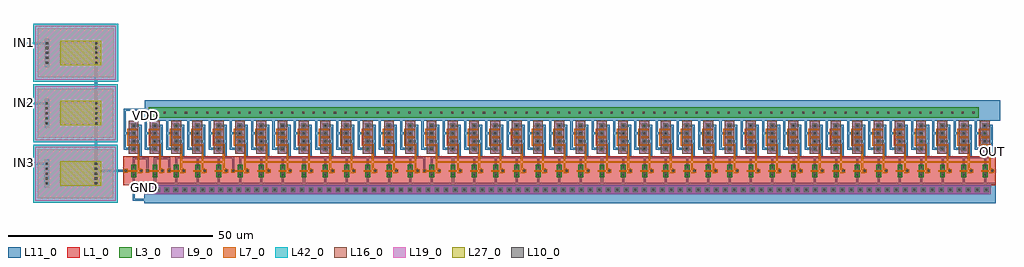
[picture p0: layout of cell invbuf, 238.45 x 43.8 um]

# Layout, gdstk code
from math import pi, radians
import gdstk
lib = gdstk.Library(unit=1e-6, precision=1e-09)
def R(c, l, rs):  # rectangles x0, y0, x1, y1
    for r in rs: c.add(gdstk.rectangle(r[:2], r[2:], *l))
def A(c, l, x, y, w, h, nx, ny, dx, dy):  # array of equal rectangles
    R(c, l, [(x+i*dx, y+j*dy, x+i*dx+w, y+j*dy+h) for i in range(nx) for j in range(ny)])
L1_0 = (1, 0)
L3_0 = (3, 0)
L7_0 = (7, 0)
L9_0 = (9, 0)
L10_0 = (10, 0)
L11_0 = (11, 0)
L16_0 = (16, 0)
L19_0 = (19, 0)
L27_0 = (27, 0)
L42_0 = (42, 0)

inv0_4 = lib.new_cell('inv0$4')

inv0 = lib.new_cell('inv0')

inv0_3 = lib.new_cell('inv0$3')

dcont = lib.new_cell('dcont')
R(dcont, L3_0, [(-0.6,-0.6,0.6,0.6)])
R(dcont, L10_0, [(-0.25,-0.25,0.25,0.25)])

pch_3 = lib.new_cell('Pch$3')
R(pch_3, L3_0, [(0,1.7,6.9,2.9)])
R(pch_3, L9_0, [(-0.6,1.1,7.5,3.5)])
R(pch_3, L16_0, [(-0.6,1.1,7.5,3.5)])
pch_3.add(gdstk.FlexPath([(0.6,1.7),(0.6,2.9)], 1.2, ends="flush", simple_path=True, layer=11, datatype=0))  # L11_0
pch_3.add(gdstk.FlexPath([(2.5,1.7),(2.5,2.9)], 1.2, ends="flush", simple_path=True, layer=11, datatype=0))  # L11_0
pch_3.add(gdstk.FlexPath([(4.4,1.7),(4.4,2.9)], 1.2, ends="flush", simple_path=True, layer=11, datatype=0))  # L11_0
pch_3.add(gdstk.FlexPath([(6.3,1.7),(6.3,2.9)], 1.2, ends="flush", simple_path=True, layer=11, datatype=0))  # L11_0
pch_3.add(gdstk.FlexPath([(0.6,2.4),(0.6,4)], 0.5, ends="flush", simple_path=True, layer=11, datatype=0))  # L11_0
pch_3.add(gdstk.FlexPath([(2.5,0.1),(2.5,2.2)], 0.5, ends="flush", simple_path=True, layer=11, datatype=0))  # L11_0
pch_3.add(gdstk.FlexPath([(4.4,2.4),(4.4,4)], 0.5, ends="flush", simple_path=True, layer=11, datatype=0))  # L11_0
pch_3.add(gdstk.FlexPath([(0.6,4),(4.4,4)], 0.5, ends="extended", simple_path=True, layer=11, datatype=0))  # L11_0
pch_3.add(gdstk.FlexPath([(6.3,0.1),(6.3,2.2)], 0.5, ends="flush", simple_path=True, layer=11, datatype=0))  # L11_0
pch_3.add(gdstk.FlexPath([(2.5,0.1),(6.3,0.1)], 0.5, ends="extended", simple_path=True, layer=11, datatype=0))  # L11_0
pch_3.add(gdstk.FlexPath([(1.55,1.7),(1.55,2.9)], 0.4, ends=(0.4, 0.4), simple_path=True, layer=7, datatype=0))  # L7_0
pch_3.add(gdstk.FlexPath([(3.45,1.7),(3.45,2.9)], 0.4, ends=(0.4, 0.4), simple_path=True, layer=7, datatype=0))  # L7_0
pch_3.add(gdstk.FlexPath([(5.35,1.7),(5.35,2.9)], 0.4, ends=(0.4, 0.4), simple_path=True, layer=7, datatype=0))  # L7_0
pch_3.add(gdstk.FlexPath([(1.35,1.05),(3.65,1.05)], 0.5, ends="flush", simple_path=True, layer=7, datatype=0))  # L7_0
pch_3.add(gdstk.FlexPath([(3.25,1.05),(5.55,1.05)], 0.5, ends="flush", simple_path=True, layer=7, datatype=0))  # L7_0
pch_3.add(gdstk.Reference(dcont, (0.6,2.3)))
pch_3.add(gdstk.Reference(dcont, (2.5,2.3)))
pch_3.add(gdstk.Reference(dcont, (4.4,2.3)))
pch_3.add(gdstk.Reference(dcont, (6.3,2.3)))

pcont = lib.new_cell('pcont')
R(pcont, L7_0, [(-0.45,-0.45,0.45,0.45)])
R(pcont, L10_0, [(-0.25,-0.25,0.25,0.25)])
R(pcont, L11_0, [(-0.45,-0.45,0.45,0.45)])

nch_3 = lib.new_cell('Nch$3')
R(nch_3, L1_0, [(-2,-0.3,5.1,4.9)])
R(nch_3, L3_0, [(0,1.7,3.1,2.9)])
nch_3.add(gdstk.FlexPath([(0.6,1.7),(0.6,2.9)], 1.2, ends="flush", simple_path=True, layer=11, datatype=0))  # L11_0
nch_3.add(gdstk.FlexPath([(2.5,1.7),(2.5,2.9)], 1.2, ends="flush", simple_path=True, layer=11, datatype=0))  # L11_0
nch_3.add(gdstk.FlexPath([(1.55,1.7),(1.55,2.9)], 0.4, ends=(0.4, 0.4), simple_path=True, layer=7, datatype=0))  # L7_0
nch_3.add(gdstk.FlexPath([(1.55,4.1),(1.55,3.3)], 1.2, ends="flush", simple_path=True, layer=7, datatype=0))  # L7_0
nch_3.add(gdstk.Reference(dcont, (0.6,2.3)))
nch_3.add(gdstk.Reference(dcont, (2.5,2.3)))
nch_3.add(gdstk.Reference(pcont, (1.55,4.1)))

nch_4 = lib.new_cell('Nch$4')
R(nch_4, L1_0, [(-2,-0.3,5.1,4.9)])
R(nch_4, L3_0, [(0,1.7,3.1,2.9)])
nch_4.add(gdstk.FlexPath([(0.6,1.7),(0.6,2.9)], 1.2, ends="flush", simple_path=True, layer=11, datatype=0))  # L11_0
nch_4.add(gdstk.FlexPath([(2.5,1.7),(2.5,2.9)], 1.2, ends="flush", simple_path=True, layer=11, datatype=0))  # L11_0
nch_4.add(gdstk.FlexPath([(1.55,1.7),(1.55,2.9)], 0.4, ends=(0.4, 0.4), simple_path=True, layer=7, datatype=0))  # L7_0
nch_4.add(gdstk.FlexPath([(1.55,4.1),(1.55,3.3)], 1.2, ends="flush", simple_path=True, layer=7, datatype=0))  # L7_0
nch_4.add(gdstk.Reference(dcont, (0.6,2.3)))
nch_4.add(gdstk.Reference(dcont, (2.5,2.3)))
nch_4.add(gdstk.Reference(pcont, (1.55,4.1)))

inv_citizen = lib.new_cell('INV_Citizen')
inv_citizen.add(gdstk.FlexPath([(39.59,1.53),(39.59,-1.6)], 0.5, ends="flush", simple_path=True, layer=11, datatype=0))  # L11_0
inv_citizen.add(gdstk.FlexPath([(41.24,9.73),(41.24,5.52),(39.59,5.52),(39.59,3.43)], 0.5, ends="flush", simple_path=True, layer=11, datatype=0))  # L11_0
inv_citizen.add(gdstk.FlexPath([(37.34,11.63),(37.34,15.91)], 0.5, ends="flush", simple_path=True, layer=11, datatype=0))  # L11_0
inv_citizen.add(gdstk.FlexPath([(40.14,8.78),(40.79,8.78),(40.79,2.68)], 0.4, ends="flush", simple_path=True, layer=7, datatype=0))  # L7_0
inv_citizen.add(gdstk.Reference(pch_3, (37.24,14.13), rotation=3*pi/2))
inv_citizen.add(gdstk.Reference(nch_3, (37.29,4.03), rotation=3*pi/2))
inv_citizen.add(gdstk.Reference(nch_4, (37.29,4.03), rotation=3*pi/2))

pcont_1 = lib.new_cell('pcont$1')
R(pcont_1, L7_0, [(-0.45,-0.45,0.45,0.45)])
R(pcont_1, L10_0, [(-0.25,-0.25,0.25,0.25)])
R(pcont_1, L11_0, [(-0.45,-0.45,0.45,0.45)])

nsub_line_2 = lib.new_cell('Nsub_line$2')
R(nsub_line_2, L3_0, [(0,-1.3,202.8,1.3)])
A(nsub_line_2, L10_0, 1.05, -0.25, 0.5, 0.5, 78, 1, 2.6, 0)
nsub_line_2.add(gdstk.FlexPath([(0,0),(202.8,0)], 0.9, ends="flush", simple_path=True, layer=11, datatype=0))  # L11_0

psub_line = lib.new_cell('Psub_line')
R(psub_line, L1_0, [(0,-1.1,206.8,1.1)])
A(psub_line, L3_0, 0.5, -0.6, 1.2, 1.2, 94, 1, 2.2, 0)
R(psub_line, L9_0, [(0,-1.1,206.8,1.1)])
A(psub_line, L10_0, 0.85, -0.25, 0.5, 0.5, 94, 1, 2.2, 0)
psub_line.add(gdstk.FlexPath([(0,0),(206.8,0)], 0.9, ends="flush", simple_path=True, layer=11, datatype=0))  # L11_0

pch = lib.new_cell('Pch')
R(pch, L3_0, [(0,1.7,6.9,2.9)])
R(pch, L9_0, [(-0.6,1.1,7.5,3.5)])
R(pch, L16_0, [(-0.6,1.1,7.5,3.5)])
pch.add(gdstk.FlexPath([(0.6,1.7),(0.6,2.9)], 1.2, ends="flush", simple_path=True, layer=11, datatype=0))  # L11_0
pch.add(gdstk.FlexPath([(2.5,1.7),(2.5,2.9)], 1.2, ends="flush", simple_path=True, layer=11, datatype=0))  # L11_0
pch.add(gdstk.FlexPath([(4.4,1.7),(4.4,2.9)], 1.2, ends="flush", simple_path=True, layer=11, datatype=0))  # L11_0
pch.add(gdstk.FlexPath([(6.3,1.7),(6.3,2.9)], 1.2, ends="flush", simple_path=True, layer=11, datatype=0))  # L11_0
pch.add(gdstk.FlexPath([(0.6,2.4),(0.6,4)], 0.5, ends="flush", simple_path=True, layer=11, datatype=0))  # L11_0
pch.add(gdstk.FlexPath([(2.5,0.1),(2.5,2.2)], 0.5, ends="flush", simple_path=True, layer=11, datatype=0))  # L11_0
pch.add(gdstk.FlexPath([(4.4,2.4),(4.4,4)], 0.5, ends="flush", simple_path=True, layer=11, datatype=0))  # L11_0
pch.add(gdstk.FlexPath([(0.6,4),(4.4,4)], 0.5, ends="extended", simple_path=True, layer=11, datatype=0))  # L11_0
pch.add(gdstk.FlexPath([(6.3,0.1),(6.3,2.2)], 0.5, ends="flush", simple_path=True, layer=11, datatype=0))  # L11_0
pch.add(gdstk.FlexPath([(2.5,0.1),(6.3,0.1)], 0.5, ends="extended", simple_path=True, layer=11, datatype=0))  # L11_0
pch.add(gdstk.FlexPath([(1.55,1.7),(1.55,2.9)], 0.4, ends=(0.4, 0.4), simple_path=True, layer=7, datatype=0))  # L7_0
pch.add(gdstk.FlexPath([(3.45,1.7),(3.45,2.9)], 0.4, ends=(0.4, 0.4), simple_path=True, layer=7, datatype=0))  # L7_0
pch.add(gdstk.FlexPath([(5.35,1.7),(5.35,2.9)], 0.4, ends=(0.4, 0.4), simple_path=True, layer=7, datatype=0))  # L7_0
pch.add(gdstk.FlexPath([(1.35,1.05),(3.65,1.05)], 0.5, ends="flush", simple_path=True, layer=7, datatype=0))  # L7_0
pch.add(gdstk.FlexPath([(3.25,1.05),(5.55,1.05)], 0.5, ends="flush", simple_path=True, layer=7, datatype=0))  # L7_0
pch.add(gdstk.Reference(dcont, (0.6,2.3)))
pch.add(gdstk.Reference(dcont, (2.5,2.3)))
pch.add(gdstk.Reference(dcont, (4.4,2.3)))
pch.add(gdstk.Reference(dcont, (6.3,2.3)))

inv_citizen_1 = lib.new_cell('INV_Citizen$1')
inv_citizen_1.add(gdstk.FlexPath([(42.34,3.59),(42.34,5.95),(43.99,5.95),(43.99,9.9)], 0.5, ends="flush", simple_path=True, layer=11, datatype=0))  # L11_0
inv_citizen_1.add(gdstk.FlexPath([(42.34,1.7),(42.34,-1.44)], 0.5, ends="flush", simple_path=True, layer=11, datatype=0))  # L11_0
inv_citizen_1.add(gdstk.FlexPath([(40.09,11.8),(40.09,16.08)], 0.5, ends="flush", simple_path=True, layer=11, datatype=0))  # L11_0
inv_citizen_1.add(gdstk.FlexPath([(42.89,8.95),(43.54,8.95),(43.54,2.65)], 0.4, ends="flush", simple_path=True, layer=7, datatype=0))  # L7_0
inv_citizen_1.add(gdstk.Reference(pch, (39.99,14.3), rotation=3*pi/2))
inv_citizen_1.add(gdstk.Reference(nch_3, (40.04,4.2), rotation=3*pi/2))

inv_citizen3 = lib.new_cell('INV_Citizen3')
inv_citizen3.add(gdstk.FlexPath([(51.17,5.93),(59.92,5.93)], 0.5, ends="flush", simple_path=True, layer=11, datatype=0))  # L11_0
inv_citizen3.add(gdstk.FlexPath([(50.72,4.82),(61.12,4.82)], 0.4, ends="flush", simple_path=True, layer=7, datatype=0))  # L7_0
inv_citizen3.add(gdstk.Reference(inv_citizen_1, (7.18,-0.02)))
inv_citizen3.add(gdstk.Reference(inv_citizen_1, (12.38,-0.02)))
inv_citizen3.add(gdstk.Reference(inv_citizen_1, (17.58,-0.02)))

inv_citizen9 = lib.new_cell('INV_Citizen9')
inv_citizen9.add(gdstk.FlexPath([(99.61,6.46),(103.16,6.46)], 0.5, ends="flush", simple_path=True, layer=11, datatype=0))  # L11_0
inv_citizen9.add(gdstk.FlexPath([(84.01,6.46),(87.56,6.46)], 0.5, ends="flush", simple_path=True, layer=11, datatype=0))  # L11_0
inv_citizen9.add(gdstk.FlexPath([(83.56,5.35),(88.76,5.35),(88.76,5.34),(88.76,5.34)], 0.4, ends="flush", simple_path=True, layer=7, datatype=0))  # L7_0
inv_citizen9.add(gdstk.FlexPath([(99.16,5.35),(104.36,5.35)], 0.4, ends="flush", simple_path=True, layer=7, datatype=0))  # L7_0
inv_citizen9.add(gdstk.Reference(inv_citizen3, (53.64,0.53)))
inv_citizen9.add(gdstk.Reference(inv_citizen3, (38.04,0.53)))
inv_citizen9.add(gdstk.Reference(inv_citizen3, (22.44,0.53)))

inv_citizen27 = lib.new_cell('INV_Citizen27')
inv_citizen27.add(gdstk.FlexPath([(187.38,6.7),(190.93,6.7)], 0.5, ends="flush", simple_path=True, layer=11, datatype=0))  # L11_0
inv_citizen27.add(gdstk.FlexPath([(234.19,6.7),(237.74,6.7)], 0.5, ends="flush", simple_path=True, layer=11, datatype=0))  # L11_0
inv_citizen27.add(gdstk.FlexPath([(233.73,5.59),(238.93,5.59)], 0.4, ends="flush", simple_path=True, layer=7, datatype=0))  # L7_0
inv_citizen27.add(gdstk.FlexPath([(186.93,5.59),(192.13,5.59)], 0.4, ends="flush", simple_path=True, layer=7, datatype=0))  # L7_0
inv_citizen27.add(gdstk.Reference(inv_citizen9, (165.77,0.24)))
inv_citizen27.add(gdstk.Reference(inv_citizen9, (72.17,0.24)))
inv_citizen27.add(gdstk.Reference(inv_citizen9, (118.97,0.24)))

pip_cap_3 = lib.new_cell('PIP_cap$3')
R(pip_cap_3, L7_0, [(0,0,18.5,12)])
A(pip_cap_3, L10_0, 2, 3.35, 0.5, 0.5, 1, 5, 0, 1.2)
A(pip_cap_3, L10_0, 14, 3.35, 0.5, 0.5, 1, 5, 0, 1.2)
R(pip_cap_3, L11_0, [(1.65,2.5,2.85,9.5), (13.65,3,14.85,9)])
R(pip_cap_3, L19_0, [(-0.6,-0.6,19.1,12.6)])
R(pip_cap_3, L27_0, [(5.5,3,15.5,9)])
R(pip_cap_3, L42_0, [(-1.1,-1.1,19.6,13.1)])
pip_cap_3.add(gdstk.Label('PIP_cap', (9.25,6), layer=7, texttype=0))

pcont_3 = lib.new_cell('pcont$3')
R(pcont_3, L7_0, [(-0.45,-0.45,0.45,0.45)])
R(pcont_3, L10_0, [(-0.25,-0.25,0.25,0.25)])
R(pcont_3, L11_0, [(-0.45,-0.45,0.45,0.45)])

invbuf = lib.new_cell('invbuf')
invbuf.add(gdstk.FlexPath([(13.49,34.57),(7.71,34.57)], 0.5, ends="flush", simple_path=True, layer=11, datatype=0))  # L11_0
invbuf.add(gdstk.FlexPath([(13.46,19.86),(7.62,19.86)], 0.5, ends="flush", simple_path=True, layer=11, datatype=0))  # L11_0
invbuf.add(gdstk.FlexPath([(25.21,34.74),(25.21,3.4),(32.74,3.4)], 0.5, ends="flush", simple_path=True, layer=11, datatype=0))  # L11_0
invbuf.add(gdstk.FlexPath([(13.47,5.1),(7.63,5.1)], 0.5, ends="flush", simple_path=True, layer=11, datatype=0))  # L11_0
invbuf.add(gdstk.FlexPath([(36.08,6.42),(37.79,6.42),(37.79,3.13)], 0.5, ends="flush", simple_path=True, layer=11, datatype=0))  # L11_0
invbuf.add(gdstk.FlexPath([(37.16,18.13),(246.07,18.13)], 5, ends="flush", simple_path=True, layer=11, datatype=0))  # L11_0
invbuf.add(gdstk.FlexPath([(32.19,16.68),(32.19,18.35),(37.8,18.35)], 0.5, ends="flush", simple_path=True, layer=11, datatype=0))  # L11_0
invbuf.add(gdstk.FlexPath([(34.43,-0.45),(34.43,-3.67),(37.8,-3.67)], 0.5, ends="flush", simple_path=True, layer=11, datatype=0))  # L11_0
invbuf.add(gdstk.FlexPath([(41.28,6.42),(43.08,6.42),(43.08,3.38)], 0.5, ends="flush", simple_path=True, layer=11, datatype=0))  # L11_0
invbuf.add(gdstk.FlexPath([(56.89,6.68),(58.71,6.68),(58.71,3.38)], 0.5, ends="flush", simple_path=True, layer=11, datatype=0))  # L11_0
invbuf.add(gdstk.FlexPath([(103.69,6.68),(105.45,6.68),(105.45,3.35)], 0.5, ends="flush", simple_path=True, layer=11, datatype=0))  # L11_0
invbuf.add(gdstk.FlexPath([(37.03,-2.01),(245.04,-2.01)], 5, ends="flush", simple_path=True, layer=11, datatype=0))  # L11_0
invbuf.add(gdstk.FlexPath([(39.03,3.38),(37.54,3.38)], 0.4, ends="flush", simple_path=True, layer=7, datatype=0))  # L7_0
invbuf.add(gdstk.FlexPath([(33.83,3.38),(32.25,3.38)], 0.4, ends="flush", simple_path=True, layer=7, datatype=0))  # L7_0
invbuf.add(gdstk.FlexPath([(44.23,3.38),(42.83,3.38),(42.83,3.38),(42.83,3.38)], 0.4, ends="flush", simple_path=True, layer=7, datatype=0))  # L7_0
invbuf.add(gdstk.FlexPath([(59.84,3.38),(58.46,3.38)], 0.4, ends="flush", simple_path=True, layer=7, datatype=0))  # L7_0
invbuf.add(gdstk.FlexPath([(106.45,3.38),(105.2,3.38)], 0.4, ends="flush", simple_path=True, layer=7, datatype=0))  # L7_0
invbuf.add(gdstk.Reference(inv0_4, (31.9,19.11)))
invbuf.add(gdstk.Reference(inv0, (31.9,19.11)))
invbuf.add(gdstk.Reference(inv0_3, (38.85,19.11)))
invbuf.add(gdstk.Reference(inv_citizen, (0.04,0.9)))
invbuf.add(gdstk.Reference(pcont_1, (43.08,3.41)))
invbuf.add(gdstk.Reference(pcont_1, (58.71,3.37)))
invbuf.add(gdstk.Reference(pcont_1, (105.45,3.37)))
invbuf.add(gdstk.Reference(nsub_line_2, (38.1,17.62)))
invbuf.add(gdstk.Reference(psub_line, (37.03,-1.27)))
invbuf.add(gdstk.Reference(inv_citizen9, (-11.53,0.22)))
invbuf.add(gdstk.Reference(inv_citizen27, (-36.9,-0.02)))
invbuf.add(gdstk.Reference(inv_citizen3, (-4.69,0.75)))
invbuf.add(gdstk.Reference(inv_citizen, (-5.16,0.9)))
invbuf.add(gdstk.Reference(pip_cap_3, (10.99,26.19)))
invbuf.add(gdstk.Reference(pip_cap_3, (10.96,-3.29)))
invbuf.add(gdstk.Reference(pcont_3, (32.5,3.41)))
invbuf.add(gdstk.Reference(pcont_3, (37.79,3.38)))
invbuf.add(gdstk.Reference(pip_cap_3, (10.98,11.46)))
invbuf.add(gdstk.Label('IN1', (7.83,34.8), layer=11, texttype=0))
invbuf.add(gdstk.Label('IN2', (7.8,20.06), layer=11, texttype=0))
invbuf.add(gdstk.Label('IN3', (7.81,5.3), layer=11, texttype=0))
invbuf.add(gdstk.Label('OUT', (244.24,7.99), layer=11, texttype=0))
invbuf.add(gdstk.Label('VDD', (37.21,16.81), layer=11, texttype=0))
invbuf.add(gdstk.Label('GND', (37.1,-0.7), layer=11, texttype=0))

lib.write_gds('invbuf.gds')
